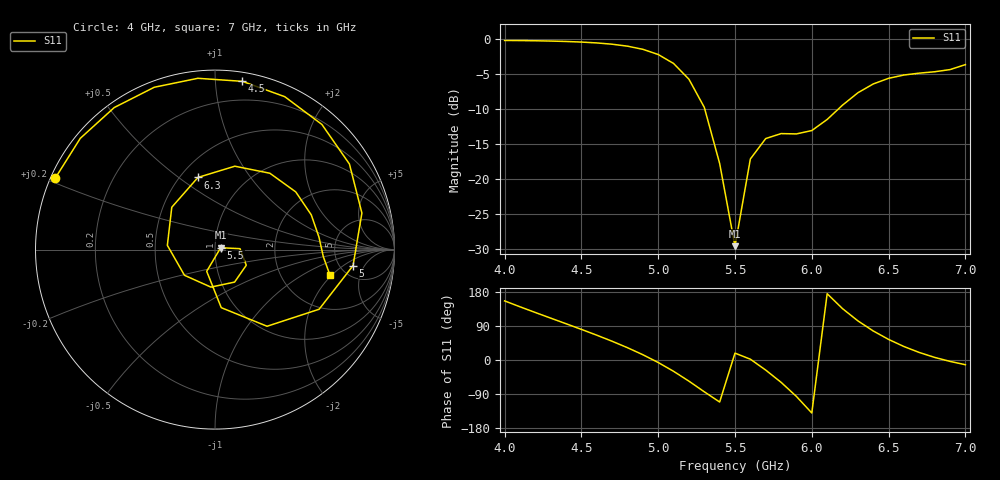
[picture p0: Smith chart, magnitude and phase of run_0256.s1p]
! Touchstone file exported from HFSS 2024.2.0
!  File:  C:/Users/wsak9/Desktop/Sim Fast/Widenad Patch/WP_AI_V1_sweep.aedt
!  Generated:  01:46:47 AM Oct 14, 2026
!  Design:  A1_model
!  Project:  WP_AI_V1_sweep
!  Setup:  Setup1
!  Solution:  Sweep
! Variables:
!  Air_gap = 1.99mm
!  Curve_Amp1 = 2.17
!  Curve_len1 = 1
!  Curve_pos = 9.695mm
!  Extra = 4.38mm
!  H_sub = 0.79mm
!  L_Patch = 15.39mm
!  L_Patch1 = 14.76mm
!  Sx = 0.49mm
!  Sy = 4.66mm
!  WS = 0.94mm
!  W_Patch = 15.63mm
!  W_Patch1 = 10.38mm
!Data is not renormalized
# GHz S MA
! Terminal data exported
! Port[1] = 1
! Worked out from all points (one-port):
!   31 points, 4 GHz to 7 GHz, reference per port
!   lowest |S11| = -29.6 dB at 5.5 GHz (marker M1), VSWR 1.07
!   |S11| at or under -10 dB: 5.303 GHz to 6.173 GHz (869.6 MHz wide, 15.2 % of centre)
!   S11 on the Smith chart (normalised r, x): 4 GHz: 0.01, +0.21; 4.5 GHz: 0.06, +1.17; 5 GHz: 6.54, -2.91; 5.5 GHz: 1.07, +0.02; 6.3 GHz: 0.61, +0.59; 7 GHz: 3.81, -1.90
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4  0.9752 156.0
4.2  0.9703 125.4
4.3  0.9657 110.5
4.4  0.9591 95.7
4.5  0.9498 80.8
4.6  0.9364 65.5
4.7  0.917 49.5
4.8  0.8879 32.5
4.9  0.8434 14.0
5  0.7743 -6.6
5.1  0.6685 -29.8
5.2  0.5163 -55.8
5.3  0.3253 -83.9
5.4  0.1296 -110.9
5.5  0.0333 18.1
5.6  0.1393 2.1
5.7  0.1948 -26.6
5.8  0.2114 -58.9
5.9  0.2103 -96.2
6  0.2222 -139.9
6.1  0.2665 174.9
6.2  0.3372 135.6
6.3  0.4132 103.3
6.4  0.4776 76.6
6.5  0.5238 54.3
6.6  0.553 35.5
6.7  0.5703 19.8
7  0.6558 -12.5
